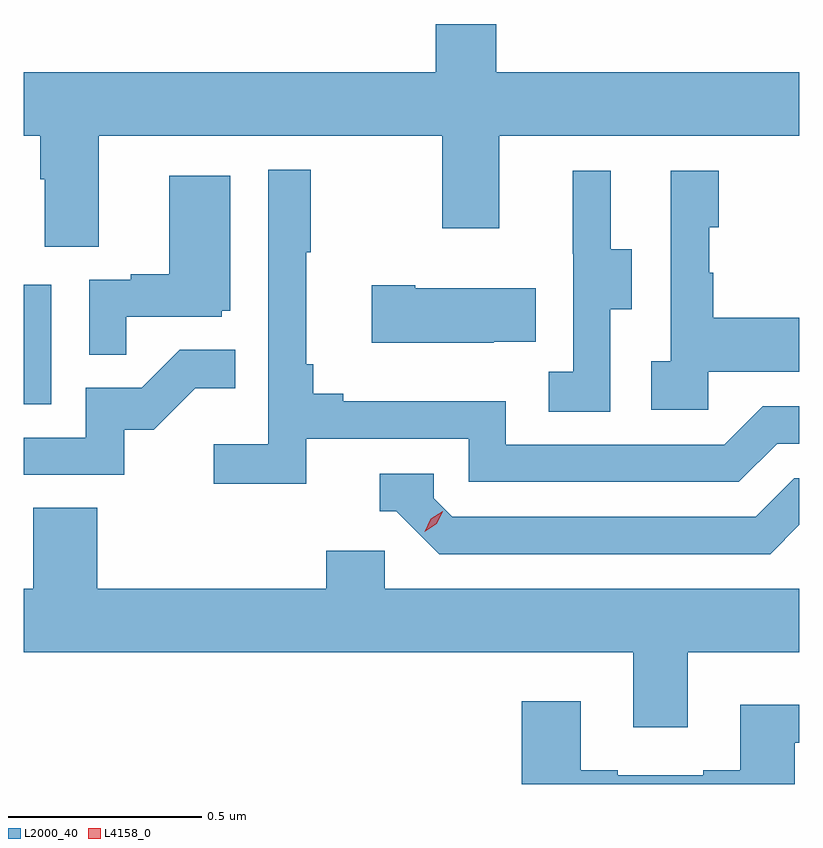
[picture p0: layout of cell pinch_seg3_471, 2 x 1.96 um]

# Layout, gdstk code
import gdstk
lib = gdstk.Library(unit=1e-6, precision=1e-09)
def R(c, l, rs):  # rectangles x0, y0, x1, y1
    for r in rs: c.add(gdstk.rectangle(r[:2], r[2:], *l))
def P(c, l, *ps):  # polygons
    for p in ps: c.add(gdstk.Polygon(p, *l))
L2000_40 = (2000, 40)
L4158_0 = (4158, 0)

pinch_seg3_471 = lib.new_cell('pinch_seg3_471')
R(pinch_seg3_471, L2000_40, [(896.459,685.572,896.53,685.879)])
P(pinch_seg3_471, L2000_40, [(896.653,686.264),(897.538,686.264),(897.538,686.025),(897.685,686.025),(897.685,686.264),(898.459,686.264),(898.459,686.428),(897.677,686.428),(897.677,686.552),(897.521,686.552),(897.521,686.428),(896.459,686.428),(896.459,686.264),(896.501,686.264),(896.501,686.152),(896.513,686.152),(896.513,685.978),(896.653,685.978)],
  [(897.188,685.482),(897.606,685.482),(897.606,685.371),(898.303,685.371),(898.402,685.47),(898.459,685.47),(898.459,685.566),(898.365,685.566),(898.266,685.467),(897.702,685.467),(897.702,685.579),(897.283,685.579),(897.283,685.598),(897.206,685.598),(897.206,685.675),(897.187,685.675),(897.187,685.963),(897.199,685.963),(897.199,686.176),(897.09,686.176),(897.09,685.468),(896.949,685.468),(896.949,685.366),(897.188,685.366)],
  [(898.224,685.655),(898.459,685.655),(898.459,685.795),(898.237,685.795),(898.237,685.91),(898.227,685.91),(898.227,686.028),(898.252,686.028),(898.252,686.173),(898.128,686.173),(898.128,685.682),(898.077,685.682),(898.077,685.557),(898.224,685.557)],
  [(897.972,685.816),(898.027,685.816),(898.027,685.971),(897.973,685.971),(897.973,686.173),(897.875,686.173),(897.875,685.959),(897.876,685.959),(897.876,685.655),(897.813,685.655),(897.813,685.552),(897.972,685.552)],
  [(896.723,685.797),(896.97,685.797),(896.97,685.812),(896.992,685.812),(896.992,686.161),(896.834,686.161),(896.834,685.906),(896.735,685.906),(896.735,685.893),(896.628,685.893),(896.628,685.699),(896.723,685.699)],
  [(897.671,685.733),(897.779,685.733),(897.779,685.87),(897.469,685.87),(897.469,685.878),(897.357,685.878),(897.357,685.73),(897.671,685.73)],
  [(896.718,685.506),(896.794,685.506),(896.901,685.613),(897.005,685.613),(897.005,685.712),(896.861,685.712),(896.763,685.614),(896.619,685.614),(896.619,685.485),(896.459,685.485),(896.459,685.389),(896.718,685.389)],
  [(898.459,685.26),(898.459,685.38),(898.446,685.38),(898.347,685.281),(897.564,685.281),(897.516,685.329),(897.516,685.392),(897.377,685.392),(897.377,685.296),(897.42,685.296),(897.531,685.185),(898.384,685.185)],
  [(898.171,684.932),(898.459,684.932),(898.459,685.096),(897.39,685.096),(897.39,685.194),(897.239,685.194),(897.239,685.096),(896.648,685.096),(896.648,685.304),(896.483,685.304),(896.483,685.096),(896.459,685.096),(896.459,684.932),(898.031,684.932),(898.031,684.738),(898.171,684.738)],
  [(898.447,684.699),(898.459,684.699),(898.459,684.796),(898.307,684.796),(898.307,684.628),(898.211,684.628),(898.211,684.615),(897.991,684.615),(897.991,684.628),(897.895,684.628),(897.895,684.805),(897.743,684.805),(897.743,684.592),(898.447,684.592)])
P(pinch_seg3_471, L4158_0, [(897.493,685.243),(897.493,685.243),(897.508,685.276),(897.539,685.296),(897.539,685.296),(897.539,685.296),(897.524,685.263),(897.493,685.243)])

lib.write_gds('pinch_seg3_471.gds')
